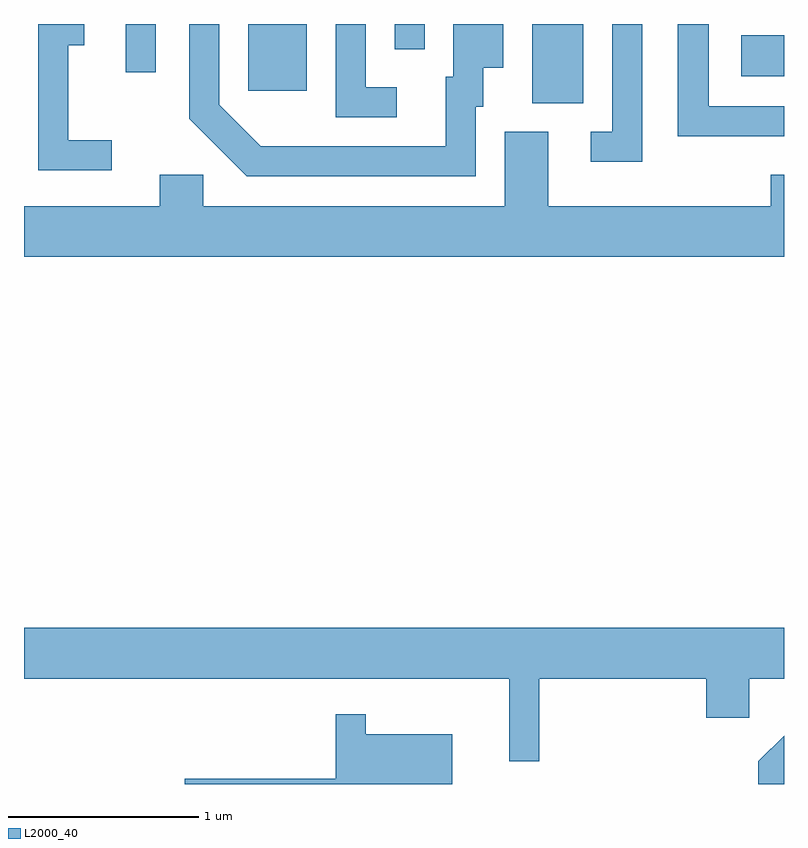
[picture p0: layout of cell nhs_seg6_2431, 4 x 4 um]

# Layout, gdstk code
import gdstk
lib = gdstk.Library(unit=1e-6, precision=1e-09)
def R(c, l, rs):  # rectangles x0, y0, x1, y1
    for r in rs: c.add(gdstk.rectangle(r[:2], r[2:], *l))
def P(c, l, *ps):  # polygons
    for p in ps: c.add(gdstk.Polygon(p, *l))
L2000_40 = (2000, 40)

nhs_seg6_2431 = lib.new_cell('nhs_seg6_2431')
R(nhs_seg6_2431, L2000_40, [(262.286,1539.746,262.554,1540.162), (260.791,1539.811,261.099,1540.162), (263.386,1539.886,263.611,1540.104), (260.146,1539.908,260.304,1540.162), (261.561,1540.028,261.719,1540.162)])
P(nhs_seg6_2431, L2000_40, [(261.989,1539.726),(262.029,1539.726),(262.029,1539.931),(262.134,1539.931),(262.134,1540.162),(261.871,1540.162),(261.871,1539.884),(261.831,1539.884),(261.831,1539.519),(260.856,1539.519),(260.639,1539.737),(260.639,1540.162),(260.481,1540.162),(260.481,1539.664),(260.784,1539.361),(261.989,1539.361)],
  [(260.073,1539.549),(259.844,1539.549),(259.844,1540.051),(259.929,1540.051),(259.929,1540.162),(259.686,1540.162),(259.686,1539.391),(260.073,1539.391)],
  [(262.864,1540.162),(262.706,1540.162),(262.706,1539.594),(262.593,1539.594),(262.593,1539.436),(262.864,1539.436)],
  [(263.611,1539.729),(263.214,1539.729),(263.214,1540.162),(263.051,1540.162),(263.051,1539.571),(263.611,1539.571)],
  [(261.573,1539.829),(261.409,1539.829),(261.409,1540.162),(261.251,1540.162),(261.251,1539.671),(261.573,1539.671)],
  [(263.611,1539.369),(263.541,1539.369),(263.541,1539.204),(262.369,1539.204),(262.369,1539.594),(262.141,1539.594),(262.141,1539.204),(260.554,1539.204),(260.554,1539.369),(260.326,1539.369),(260.326,1539.204),(259.611,1539.204),(259.611,1538.936),(263.611,1538.936)],
  [(262.324,1536.716),(263.201,1536.716),(263.201,1536.511),(263.429,1536.511),(263.429,1536.716),(263.611,1536.716),(263.611,1536.984),(259.611,1536.984),(259.611,1536.716),(262.166,1536.716),(262.166,1536.283),(262.324,1536.283)],
  [(261.864,1536.424),(261.409,1536.424),(261.409,1536.528),(261.251,1536.528),(261.251,1536.189),(260.456,1536.189),(260.456,1536.162),(261.864,1536.162)],
  [(263.611,1536.416),(263.476,1536.282),(263.476,1536.162),(263.611,1536.162)])

lib.write_gds('nhs_seg6_2431.gds')
